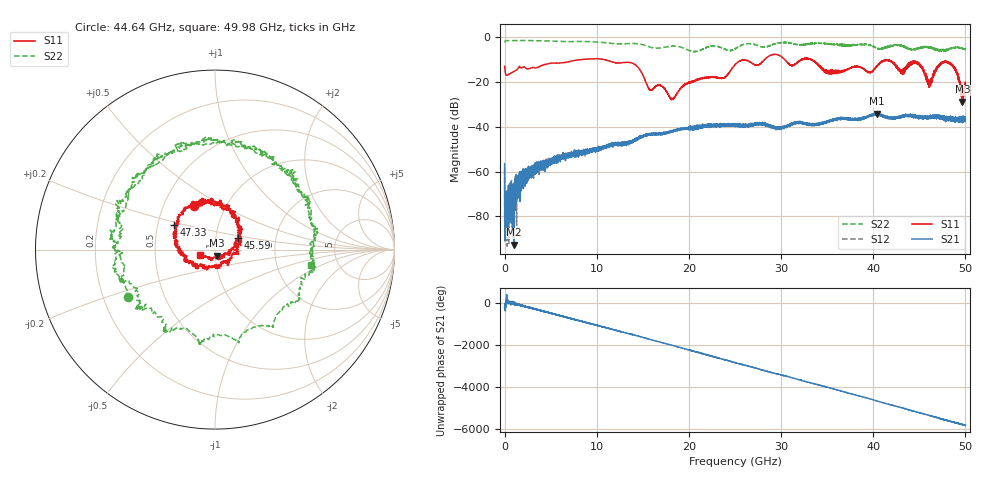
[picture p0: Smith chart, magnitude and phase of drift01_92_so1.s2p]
!Created with skrf (http://scikit-rf.org).
# Hz S RI R 50.0
!freq ReS11 ImS11 ReS21 ImS21 ReS12 ImS12 ReS22 ImS22
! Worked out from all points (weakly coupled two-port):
!   10001 points, 300 kHz to 50 GHz, reference 50 ohm
!   highest |S21| = -34.09 dB at 40.39 GHz (marker M1); lowest = -92.6 dB at 1.04 GHz (marker M2)
!   lowest |S11| = -28.8 dB at 49.67 GHz (marker M3), VSWR 1.08, Z = 51 - j3.53 ohm
!   |S11| at or under -10 dB: start of sweep to 8.084 GHz; 10.9 GHz to 25.98 GHz (15.08 GHz wide, 81.8 % of centre); 41.6 GHz to end of sweep (the widest 3 of 14)
!   |S22| runs from -6.6 to -1.4 dB; largest |S21 - S12| = 0.0046
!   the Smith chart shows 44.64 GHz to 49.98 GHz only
!   S11 on the Smith chart (normalised r, x): 44.64 GHz: 0.71, +0.37; 45.59 GHz: 1.28, +0.17; 47.33 GHz: 0.61, +0.18; 49.98 GHz: 0.85, -0.05
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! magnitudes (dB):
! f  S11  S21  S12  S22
! 300 kHz  -13.0  -56.4  -58.8  -2.1
! 255.3 MHz  -16.9  -72.1  -74.9  -1.4
! 1.04 GHz  -15.2  -92.6  -68.0  -1.5
! 3.015 GHz  -13.5  -62.0  -59.7  -1.4
! 8.335 GHz  -9.9  -51.0  -51.9  -1.8
! 13.8 GHz  -11.4  -46.4  -46.1  -2.7
! 15.75 GHz  -23.4  -43.5  -43.1  -4.2
! 16.67 GHz  -21.4  -43.1  -43.2  -4.8
! 18.22 GHz  -27.3  -42.1  -41.7  -3.9
! 25 GHz  -12.2  -39.2  -39.2  -5.1
! 33.34 GHz  -10.0  -39.2  -38.8  -2.7
! 35.14 GHz  -16.0  -37.5  -37.4  -2.8
! 40.39 GHz  -12.9  -34.1  -34.2  -4.8
! 41.67 GHz  -10.4  -35.9  -36.1  -4.3
! 44.64 GHz  -11.4  -35.5  -35.4  -5.2
! 45.59 GHz  -17.0  -35.3  -35.9  -4.4
! 46.16 GHz  -19.5  -35.8  -35.4  -4.8
! 47.33 GHz  -11.5  -36.2  -34.9  -6.5
! 48.74 GHz  -13.3  -37.1  -37.0  -4.6
! 49.67 GHz  -28.8  -36.9  -37.0  -4.8
! 49.98 GHz  -21.1  -36.8  -35.5  -5.3
! 50 GHz  -21.1  -36.8  -36.5  -5.4
